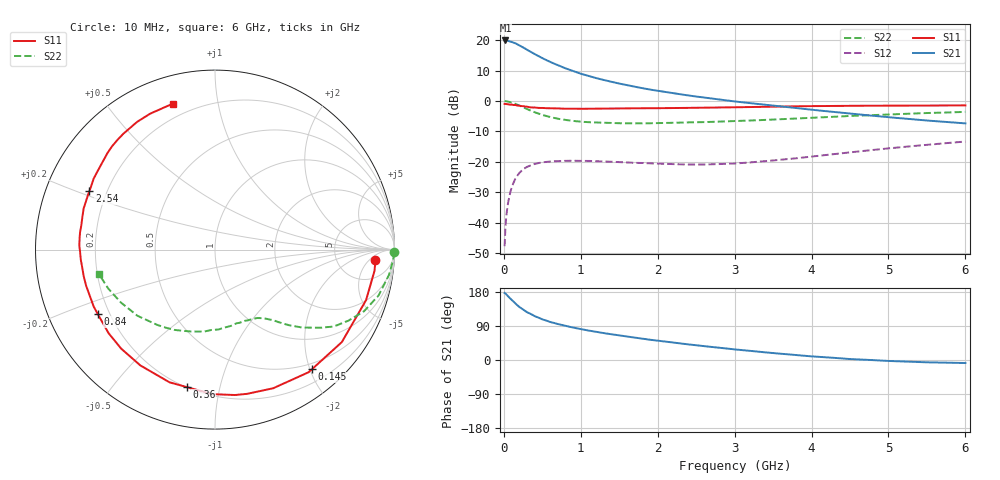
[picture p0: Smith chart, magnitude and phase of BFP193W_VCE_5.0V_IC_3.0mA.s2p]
! Infineon Technologies  Discrete & RF Semiconductors
! BFP193W
! VCE = 5.0 V,  IC =  3.0 mA
! Common Emitter S-Parameters:  Jan 2016
# GHz  S  MA  R  50
!  f  S11  S21  S12  S22
! GHz  MAG  ANG  MAG  ANG  MAG  ANG  MAG  ANG
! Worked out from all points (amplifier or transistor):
!   210 points, 10 MHz to 6 GHz, reference 50 ohm
!   highest |S21| = 19.9 dB at 20 MHz (marker M1)
!   |S21| within 3 dB of that: start of sweep to 297.4 MHz
!   unconditionally stable (mu >= 1): 1.942 GHz to 4.522 GHz
!   at 185 MHz: K = 0.11, MSG = 21.4 dB, |S12| = -24.2 dB
!   at 1.52 GHz: K = 0.78, MSG = 12.9 dB, |S12| = -20.1 dB
!   at 6 GHz: K = 0.94, MSG = 3.0 dB, |S12| = -13.3 dB
!   S11 on the Smith chart (normalised r, x): 10 MHz: 14, -8; 145 MHz: 0.40, -2.04; 360 MHz: 0.20, -0.79; 840 MHz: 0.16, -0.25; 2.54 GHz: 0.14, +0.22; 6 GHz: 0.13, +0.75
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0.01  0.8959 -3.6  9.834 177.0  0.0041 88.9  0.9999 -0.9
0.02  0.8966 -7.5  9.878 175.6  0.0079 87.7  0.9932 -3.5
0.05  0.8875 -18.5  9.758 169.1  0.0193 79.5  0.98 -8.2
0.1  0.8746 -36.1  9.389 158.7  0.0373 70.7  0.9469 -15.6
0.145  0.8579 -50.9  8.921 149.8  0.0513 62.7  0.9025 -21.8
0.2  0.8378 -67.2  8.223 140.2  0.0652 54.6  0.8428 -28.0
0.24  0.8234 -77.4  7.726 134.5  0.0731 49.5  0.8001 -31.8
0.3  0.8054 -91.1  6.961 126.3  0.0824 43.1  0.7355 -36.3
0.36  0.7819 -101.7  6.302 120.4  0.0881 37.8  0.6843 -39.4
0.4  0.7816 -108.9  5.906 115.8  0.0923 34.7  0.6514 -41.8
0.5  0.7677 -122.8  5.057 107.3  0.098 28.8  0.5899 -45.6
0.6  0.7601 -133.4  4.392 100.5  0.1011 24.3  0.5436 -48.4
0.7  0.754 -141.9  3.881 95.0  0.103 21.1  0.5104 -50.4
0.84  0.7452 -151.2  3.304 88.2  0.1038 17.8  0.48 -53.4
1.02  0.7435 -160.8  2.762 80.9  0.1035 14.6  0.4547 -57.0
1.4  0.7498 -175.6  2.064 67.8  0.1003 11.5  0.435 -64.9
2.02  0.7603 166.8  1.455 50.4  0.0932 14.2  0.4343 -78.6
2.54  0.7717 155.1  1.164 38.0  0.0902 21.0  0.4473 -91.2
3.1  0.7904 143.9  0.951 26.1  0.0956 30.3  0.4718 -104.7
4.1  0.8243 126.9  0.697 8.3  0.1259 41.2  0.5341 -129.9
5.1  0.8389 114.6  0.527 -3.2  0.1709 41.9  0.6067 -152.6
6  0.8462 106.0  0.428 -8.0  0.2151 38.3  0.6616 -168.3
